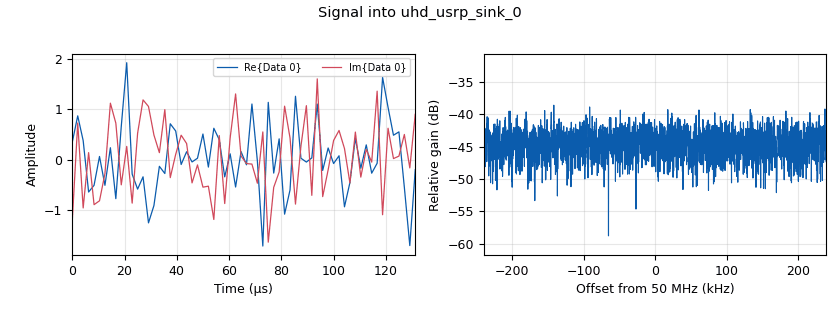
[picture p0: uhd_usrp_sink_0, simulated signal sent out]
options:
  parameters:
    author: Sergey Polichnoy
    generate_options: qt_gui
    id: sine_rx
    output_language: python
    title: Sine Receiver
  states: {}

blocks:
- name: center_freq
  id: variable
  parameters:
    value: 50e6
  states: {}
- name: out_file
  id: variable
  parameters:
    value: '''/home/user/rf_dump2/noise_rx_fs={}kHz_f0={}MHz_rxgain={}dB_txgain={}dB_shift=0kHz_aa.dat''.format(int(rx_samp_rate*1e-3), int(center_freq*1e-6), rx_gain, tx_gain)'
  states: {}
- name: qpsk
  id: variable_constellation_rect
  parameters:
    const_points: '[0.707+0.707j, -0.707+0.707j, -0.707-0.707j, 0.707-0.707j]'
    imag_sect: '2'
    real_sect: '2'
    rot_sym: '4'
    sym_map: '[0, 1, 2, 3]'
    w_imag_sect: '1'
    w_real_sect: '1'
  states: {}
- name: rx_gain
  id: variable
  parameters:
    value: '10'
  states: {}
- name: rx_samp_rate
  id: variable
  parameters:
    value: 480e3
  states: {}
- name: tx_gain
  id: variable
  parameters:
    value: '10'
  states: {}
- name: tx_samp_rate
  id: variable
  parameters:
    value: 480e3
  states: {}
- name: analog_noise_source_x_0
  id: analog_noise_source_x
  parameters:
    amp: '1'
    noise_type: analog.GR_GAUSSIAN
    seed: '0'
    type: complex
  states: {}
- name: analog_random_source_x_0
  id: analog_random_source_x
  parameters:
    max: '255'
    min: '0'
    num_samps: '100000'
    repeat: 'True'
    type: byte
  states: {state: disabled}
- name: analog_sig_source_x_0
  id: analog_sig_source_x
  parameters:
    amp: '1'
    freq: 50e3
    offset: '0'
    phase: '0'
    samp_rate: tx_samp_rate
    type: complex
    waveform: analog.GR_SIN_WAVE
  states: {state: disabled}
- name: blocks_file_sink_0
  id: blocks_file_sink
  parameters:
    file: out_file
    type: complex
  states: {}
- name: blocks_file_source_1
  id: blocks_file_source
  parameters:
    file: /home/user/rf_dump/tetra_tx_480kHz.bin
    repeat: 'False'
    type: complex
  states: {state: disabled}
- name: blocks_head_0
  id: blocks_head
  parameters:
    num_items: int(rx_samp_rate*1)
    type: complex
  states: {}
- name: blocks_multiply_xx_0
  id: blocks_multiply_xx
  parameters:
    type: complex
  states: {state: disabled}
- name: digital_constellation_modulator_0
  id: digital_constellation_modulator
  parameters:
    constellation: qpsk
    differential: 'True'
    excess_bw: '0.35'
    samples_per_symbol: '16'
  states: {state: disabled}
- name: qtgui_sink_x_0
  id: qtgui_sink_x
  parameters:
    bw: rx_samp_rate
    fc: center_freq
    fftsize: '1024'
    type: complex
    wintype: firdes.WIN_BLACKMAN_hARRIS
  states: {}
- name: uhd_usrp_sink_0
  id: uhd_usrp_sink
  parameters:
    ant0: TX/RX
    center_freq0: center_freq
    clock_rate: 122.88e6
    dev_args: '""'
    gain0: tx_gain
    len_tag_name: ''
    norm_gain0: 'False'
    samp_rate: tx_samp_rate
    sd_spec0: A:0
    sync: sync
    type: fc32
  states: {}
- name: uhd_usrp_source_0
  id: uhd_usrp_source
  parameters:
    ant0: TX/RX
    center_freq0: center_freq
    clock_rate: 122.88e6
    dc_offs_enb0: '""'
    dev_args: '""'
    gain0: rx_gain
    iq_imbal_enb0: '""'
    norm_gain0: 'False'
    samp_rate: rx_samp_rate
    sd_spec0: B:1
    sync: sync
    type: fc32
  states: {}

connections:
- [analog_noise_source_x_0, '0', uhd_usrp_sink_0, '0']
- [analog_random_source_x_0, '0', digital_constellation_modulator_0, '0']
- [analog_sig_source_x_0, '0', blocks_multiply_xx_0, '1']
- [blocks_file_source_1, '0', uhd_usrp_sink_0, '0']
- [blocks_head_0, '0', blocks_file_sink_0, '0']
- [blocks_multiply_xx_0, '0', uhd_usrp_sink_0, '0']
- [digital_constellation_modulator_0, '0', blocks_multiply_xx_0, '0']
- [uhd_usrp_source_0, '0', blocks_head_0, '0']
- [uhd_usrp_source_0, '0', qtgui_sink_x_0, '0']

metadata:
  file_format: 1
